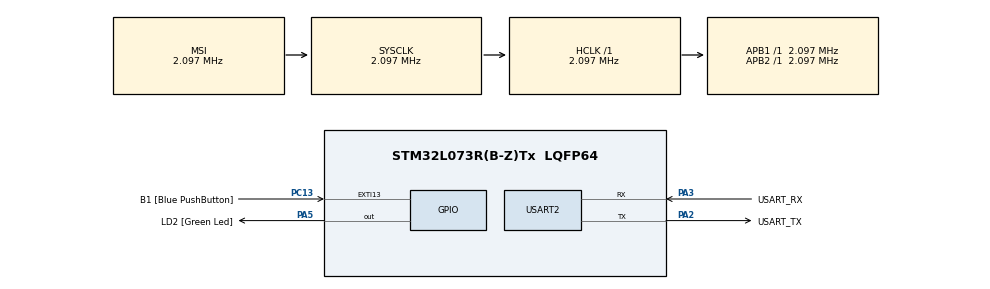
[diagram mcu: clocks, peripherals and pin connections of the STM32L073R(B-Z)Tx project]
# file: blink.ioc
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Mcu.Family=STM32L0
RCC.MSI_VALUE=2097000
PC15-OSC32_OUT.Mode=LSE-External-Oscillator
PH0-OSC_IN.Signal=RCC_OSC_IN
PC13.Signal=GPXTI13
PA14.GPIO_Label=TCK
PC13.GPIO_Label=B1 [Blue PushButton]
PC14-OSC32_IN.Signal=RCC_OSC32_IN
ProjectManager.StackSize=0x400
PA3.Mode=Asynchronous
PA13.Signal=SYS_SWDIO
RCC.HSI16_VALUE=16000000
ProjectManager.TargetToolchain=STM32CubeIDE
RCC.HCLKFreq_Value=2097000
RCC.APB2TimFreq_Value=2097000
PC15-OSC32_OUT.Signal=RCC_OSC32_OUT
RCC.AHBFreq_Value=2097000
PH0-OSC_IN.Mode=HSE-External-Clock-Source
PH0-OSC_IN.GPIO_Label=MCO
PA5.Signal=GPIO_Output
RCC.HSE_VALUE=8000000
board=NUCLEO-L073RZ
USART2.VirtualMode-Asynchronous=VM_ASYNC
RCC.VCOOutputFreq_Value=48000000
RCC.APB2Freq_Value=2097000
PC14-OSC32_IN.Mode=LSE-External-Oscillator
PA14.Mode=Serial_Wire
PA13.Mode=Serial_Wire
Mcu.Name=STM32L073R(B-Z)Tx
PA2.Signal=USART2_TX
PA13.GPIO_Label=TMS
RCC.SYSCLKFreq_VALUE=2097000
Mcu.Package=LQFP64
PA5.GPIO_Label=LD2 [Green Led]
PC13.GPIO_ModeDefaultEXTI=GPIO_MODE_IT_FALLING
PA2.GPIO_Label=USART_TX
PA14.Signal=SYS_SWCLK
ProjectManager.HeapSize=0x200
RCC.HSI_VALUE=16000000
RCC.APB1TimFreq_Value=2097000
PA2.Mode=Asynchronous
RCC.APB1Freq_Value=2097000
RCC.HSI48_VALUE=48000000
PA3.GPIO_Label=USART_RX
PA3.Signal=USART2_RX

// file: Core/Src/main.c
/* USER CODE BEGIN Header */
/**
  ******************************************************************************
  * @file           : main.c
  * @brief          : Main program body
  ******************************************************************************
  * @attention
  *
  * <h2><center>&copy; Copyright (c) 2021 STMicroelectronics.
  * All rights reserved.</center></h2>
  *
  * This software component is licensed by ST under BSD 3-Clause license,
  * the "License"; You may not use this file except in compliance with the
  * License. You may obtain a copy of the License at:
  *                        opensource.org/licenses/BSD-3-Clause
  *
  ******************************************************************************
  */
/* USER CODE END Header */
#include "main.h"

/* USER CODE BEGIN Includes */
#include <stdio.h>
#include <string.h>
#include "retarget.h"
/* USER CODE END Includes */

UART_HandleTypeDef huart2;

void SystemClock_Config(void);
static void MX_GPIO_Init(void);
static void MX_USART2_UART_Init(void);

/* USER CODE BEGIN 0 */

// __gets reads input to parameter buf in limit of s characters.
// It returns length of input string.
int __gets(char * buf, size_t s) {
	// cleanup char
	strcpy(buf, "");

	char buffer;
	  while (1)
	  {
		  // make sure input will not exceed char array size.
		  if (strlen(buf) == s) {
			  printf("\r\ninput stopped here: meet maximum length of text.");
			  return s;
		  }

		  buffer = getchar(); //getchar() works. Do NOT use scanf, it's risky
		  if (buffer == 0x0d) //0x0d: Enter
			  break;

		  printf("%c",buffer);
		  strncat(buf, &buffer, 1);
	  }

	return strlen(buf);
}
/* USER CODE END 0 */

int main(void)
{

  /* MCU Configuration--------------------------------------------------------*/

  /* Reset of all peripherals, Initializes the Flash interface and the Systick. */
  HAL_Init();

  /* Configure the system clock */
  SystemClock_Config();

  /* Initialize all configured peripherals */
  MX_GPIO_Init();
  MX_USART2_UART_Init();

  /* USER CODE BEGIN 2 */
  RetargetInit(&huart2);
  char buffer[20]; // declare input buffer
  /* USER CODE END 2 */

  /* Infinite loop */
  /* USER CODE BEGIN WHILE */
  while (1)
  {
	  printf("\r\nenter text:");
	  if (!__gets(buffer, 20)) {
		  printf("\r\nno character is entered!");
		  continue;
	  }

	  printf("\r\nget: %s", buffer);
  }
  /* USER CODE END WHILE */
}

void SystemClock_Config(void)
{
  RCC_OscInitTypeDef RCC_OscInitStruct = {0};
  RCC_ClkInitTypeDef RCC_ClkInitStruct = {0};
  RCC_PeriphCLKInitTypeDef PeriphClkInit = {0};

  /** Configure the main internal regulator output voltage
  */
  __HAL_PWR_VOLTAGESCALING_CONFIG(PWR_REGULATOR_VOLTAGE_SCALE1);
  /** Initializes the RCC Oscillators according to the specified parameters
  * in the RCC_OscInitTypeDef structure.
  */
  RCC_OscInitStruct.OscillatorType = RCC_OSCILLATORTYPE_MSI;
  RCC_OscInitStruct.MSIState = RCC_MSI_ON;
  RCC_OscInitStruct.MSICalibrationValue = 0;
  RCC_OscInitStruct.MSIClockRange = RCC_MSIRANGE_5;
  RCC_OscInitStruct.PLL.PLLState = RCC_PLL_NONE;
  if (HAL_RCC_OscConfig(&RCC_OscInitStruct) != HAL_OK)
  {
    Error_Handler();
  }
  /** Initializes the CPU, AHB and APB buses clocks
  */
  RCC_ClkInitStruct.ClockType = RCC_CLOCKTYPE_HCLK|RCC_CLOCKTYPE_SYSCLK
                              |RCC_CLOCKTYPE_PCLK1|RCC_CLOCKTYPE_PCLK2;
  RCC_ClkInitStruct.SYSCLKSource = RCC_SYSCLKSOURCE_MSI;
  RCC_ClkInitStruct.AHBCLKDivider = RCC_SYSCLK_DIV1;
  RCC_ClkInitStruct.APB1CLKDivider = RCC_HCLK_DIV1;
  RCC_ClkInitStruct.APB2CLKDivider = RCC_HCLK_DIV1;

  if (HAL_RCC_ClockConfig(&RCC_ClkInitStruct, FLASH_LATENCY_0) != HAL_OK)
  {
    Error_Handler();
  }
  PeriphClkInit.PeriphClockSelection = RCC_PERIPHCLK_USART2;
  PeriphClkInit.Usart2ClockSelection = RCC_USART2CLKSOURCE_PCLK1;
  if (HAL_RCCEx_PeriphCLKConfig(&PeriphClkInit) != HAL_OK)
  {
    Error_Handler();
  }
}

static void MX_USART2_UART_Init(void)
{

  huart2.Instance = USART2;
  huart2.Init.BaudRate = 115200;
  huart2.Init.WordLength = UART_WORDLENGTH_8B;
  huart2.Init.StopBits = UART_STOPBITS_1;
  huart2.Init.Parity = UART_PARITY_NONE;
  huart2.Init.Mode = UART_MODE_TX_RX;
  huart2.Init.HwFlowCtl = UART_HWCONTROL_NONE;
  huart2.Init.OverSampling = UART_OVERSAMPLING_16;
  huart2.Init.OneBitSampling = UART_ONE_BIT_SAMPLE_DISABLE;
  huart2.AdvancedInit.AdvFeatureInit = UART_ADVFEATURE_NO_INIT;
  if (HAL_UART_Init(&huart2) != HAL_OK)
  {
    Error_Handler();
  }

}

static void MX_GPIO_Init(void)
{
  GPIO_InitTypeDef GPIO_InitStruct = {0};

  /* GPIO Ports Clock Enable */
  __HAL_RCC_GPIOC_CLK_ENABLE();
  __HAL_RCC_GPIOH_CLK_ENABLE();
  __HAL_RCC_GPIOA_CLK_ENABLE();

  /*Configure GPIO pin Output Level */
  HAL_GPIO_WritePin(LD2_GPIO_Port, LD2_Pin, GPIO_PIN_RESET);

  /*Configure GPIO pin : B1_Pin */
  GPIO_InitStruct.Pin = B1_Pin;
  GPIO_InitStruct.Mode = GPIO_MODE_IT_FALLING;
  GPIO_InitStruct.Pull = GPIO_NOPULL;
  HAL_GPIO_Init(B1_GPIO_Port, &GPIO_InitStruct);

  /*Configure GPIO pin : LD2_Pin */
  GPIO_InitStruct.Pin = LD2_Pin;
  GPIO_InitStruct.Mode = GPIO_MODE_OUTPUT_PP;
  GPIO_InitStruct.Pull = GPIO_NOPULL;
  GPIO_InitStruct.Speed = GPIO_SPEED_FREQ_LOW;
  HAL_GPIO_Init(LD2_GPIO_Port, &GPIO_InitStruct);

}

void Error_Handler(void)
{
  __disable_irq();
  while (1)
  {
  }
}

/************************ (C) COPYRIGHT STMicroelectronics *****END OF FILE****/
